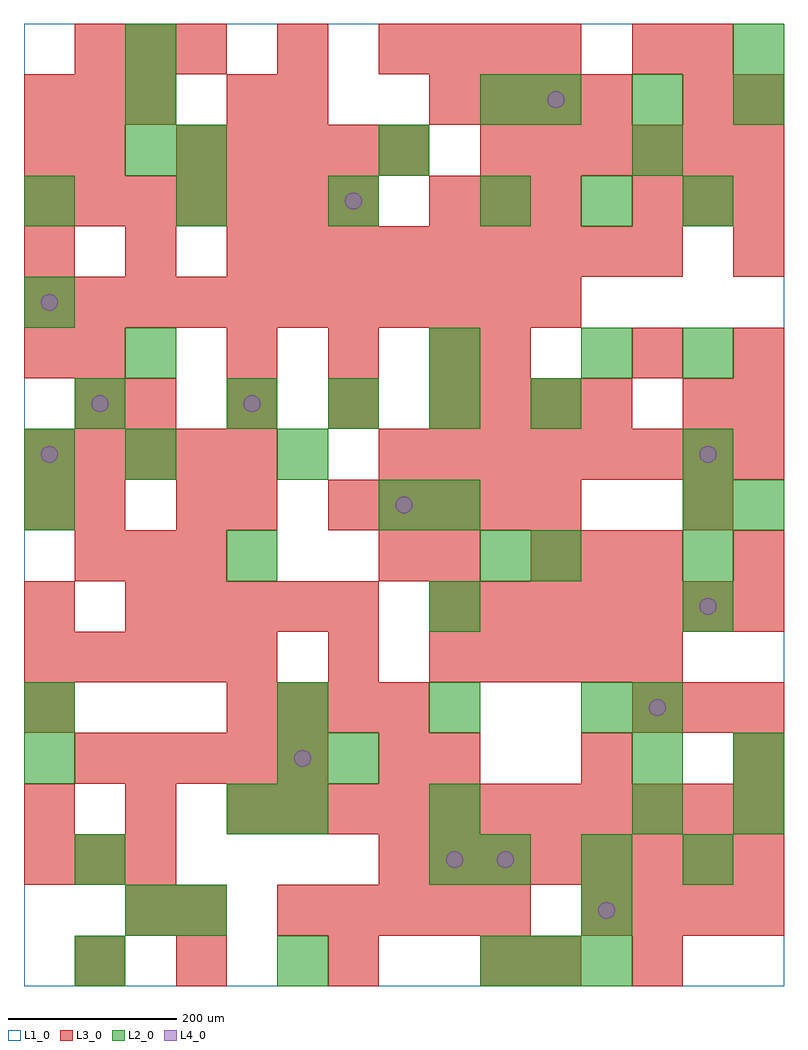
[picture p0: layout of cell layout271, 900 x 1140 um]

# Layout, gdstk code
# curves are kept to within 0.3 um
import gdstk
lib = gdstk.Library(unit=1e-6, precision=1e-09)
def R(c, l, rs):  # rectangles x0, y0, x1, y1
    for r in rs: c.add(gdstk.rectangle(r[:2], r[2:], *l))
def A(c, l, x, y, w, h, nx, ny, dx, dy):  # array of equal rectangles
    R(c, l, [(x+i*dx, y+j*dy, x+i*dx+w, y+j*dy+h) for i in range(nx) for j in range(ny)])
def P(c, l, *ps):  # polygons
    for p in ps: c.add(gdstk.Polygon(p, *l))
L1_0 = (1, 0)
L2_0 = (2, 0)
L3_0 = (3, 0)
L4_0 = (4, 0)

layout271 = lib.new_cell('layout271')
R(layout271, L1_0, [(0,0,900,1140)])
A(layout271, L2_0, 60, 0, 60, 60, 3, 1, 240, 0)
A(layout271, L2_0, 540, 120, 60, 60, 3, 1, 120, 0)
A(layout271, L2_0, 720, 180, 60, 60, 1, 3, 0, 60)
A(layout271, L2_0, 300, 300, 60, 60, 3, 1, 180, 0)
A(layout271, L2_0, 780, 420, 60, 60, 1, 4, 0, 60)
A(layout271, L2_0, 240, 660, 60, 60, 4, 1, 120, 0)
A(layout271, L2_0, 0, 900, 60, 60, 4, 1, 180, 0)
A(layout271, L2_0, 120, 960, 60, 60, 1, 3, 0, 60)
A(layout271, L2_0, 600, 1020, 60, 60, 3, 1, 120, 0)
R(layout271, L2_0, [(600,0,660,60), (660,0,720,60), (120,60,180,120), (180,60,240,120), (660,60,720,120), (60,120,120,180), (480,120,540,180), (240,180,300,240), (300,180,360,240), (480,180,540,240), (840,180,900,240), (0,240,60,300), (300,240,360,300), (360,240,420,300), (840,240,900,300), (0,300,60,360), (480,420,540,480), (240,480,300,540), (540,480,600,540), (600,480,660,540), (0,540,60,600), (420,540,480,600), (480,540,540,600), (840,540,900,600), (0,600,60,660), (120,600,180,660), (300,600,360,660), (60,660,120,720), (120,720,180,780), (480,720,540,780), (660,720,720,780), (780,720,840,780), (0,780,60,840), (660,900,720,960), (780,900,840,960), (180,960,240,1020), (420,960,480,1020), (720,960,780,1020), (540,1020,600,1080), (840,1080,900,1140)])
A(layout271, L3_0, 180, 0, 60, 60, 3, 1, 180, 0)
A(layout271, L3_0, 300, 60, 60, 60, 5, 1, 60, 0)
A(layout271, L3_0, 660, 60, 60, 60, 4, 1, 60, 0)
A(layout271, L3_0, 0, 120, 60, 60, 3, 2, 60, 900)
A(layout271, L3_0, 420, 120, 60, 60, 8, 2, 60, 480)
A(layout271, L3_0, 0, 180, 60, 60, 3, 2, 120, 660)
A(layout271, L3_0, 300, 180, 60, 60, 10, 1, 60, 0)
A(layout271, L3_0, 60, 240, 60, 60, 5, 1, 60, 0)
A(layout271, L3_0, 480, 240, 60, 60, 3, 1, 180, 0)
A(layout271, L3_0, 0, 300, 60, 60, 1, 3, 0, 120)
A(layout271, L3_0, 240, 300, 60, 60, 4, 1, 60, 0)
A(layout271, L3_0, 720, 300, 60, 60, 3, 2, 60, 600)
A(layout271, L3_0, 0, 360, 60, 60, 5, 2, 60, 240)
A(layout271, L3_0, 480, 360, 60, 60, 5, 1, 60, 0)
A(layout271, L3_0, 120, 420, 60, 60, 5, 1, 60, 0)
A(layout271, L3_0, 480, 420, 60, 60, 7, 1, 60, 0)
A(layout271, L3_0, 60, 480, 60, 60, 3, 2, 60, 600)
A(layout271, L3_0, 600, 480, 60, 60, 3, 1, 60, 0)
A(layout271, L3_0, 360, 540, 60, 60, 5, 1, 60, 0)
A(layout271, L3_0, 120, 660, 60, 60, 4, 1, 120, 0)
A(layout271, L3_0, 540, 660, 60, 60, 3, 1, 60, 0)
A(layout271, L3_0, 240, 720, 60, 60, 3, 1, 120, 0)
A(layout271, L3_0, 0, 780, 60, 60, 11, 1, 60, 0)
A(layout271, L3_0, 300, 840, 60, 60, 8, 1, 60, 0)
A(layout271, L3_0, 0, 900, 60, 60, 7, 1, 60, 0)
A(layout271, L3_0, 480, 900, 60, 60, 3, 1, 60, 0)
A(layout271, L3_0, 180, 960, 60, 60, 5, 1, 60, 0)
A(layout271, L3_0, 540, 960, 60, 60, 6, 1, 60, 0)
A(layout271, L3_0, 480, 1020, 60, 60, 4, 1, 60, 0)
A(layout271, L3_0, 420, 1080, 60, 60, 4, 1, 60, 0)
R(layout271, L3_0, [(60,0,120,60), (600,0,660,60), (720,0,780,60), (120,60,180,120), (180,60,240,120), (420,240,480,300), (360,360,420,420), (420,480,480,540), (480,480,540,540), (840,480,900,540), (60,540,120,600), (180,540,240,600), (240,540,300,600), (780,540,840,600), (60,660,120,720), (780,660,840,720), (840,660,900,720), (0,720,60,780), (60,720,120,780), (540,720,600,780), (720,720,780,780), (840,720,900,780), (840,840,900,900), (0,960,60,1020), (60,960,120,1020), (240,1020,300,1080), (300,1020,360,1080), (780,1020,840,1080), (840,1020,900,1080), (300,1080,360,1140), (720,1080,780,1140), (780,1080,840,1140)])
P(layout271, L4_0, [(40,630),(39.239,633.827),(37.071,637.071),(33.827,639.239),(30,640),(26.173,639.239),(22.929,637.071),(20.761,633.827),(20,630),(20.761,626.173),(22.929,622.929),(26.173,620.761),(30,620),(33.827,620.761),(37.071,622.929),(39.239,626.173)],
  [(40,810),(39.239,813.827),(37.071,817.071),(33.827,819.239),(30,820),(26.173,819.239),(22.929,817.071),(20.761,813.827),(20,810),(20.761,806.173),(22.929,802.929),(26.173,800.761),(30,800),(33.827,800.761),(37.071,802.929),(39.239,806.173)],
  [(100,690),(99.239,693.827),(97.071,697.071),(93.827,699.239),(90,700),(86.173,699.239),(82.929,697.071),(80.761,693.827),(80,690),(80.761,686.173),(82.929,682.929),(86.173,680.761),(90,680),(93.827,680.761),(97.071,682.929),(99.239,686.173)],
  [(280,690),(279.239,693.827),(277.071,697.071),(273.827,699.239),(270,700),(266.173,699.239),(262.929,697.071),(260.761,693.827),(260,690),(260.761,686.173),(262.929,682.929),(266.173,680.761),(270,680),(273.827,680.761),(277.071,682.929),(279.239,686.173)],
  [(340,270),(339.239,273.827),(337.071,277.071),(333.827,279.239),(330,280),(326.173,279.239),(322.929,277.071),(320.761,273.827),(320,270),(320.761,266.173),(322.929,262.929),(326.173,260.761),(330,260),(333.827,260.761),(337.071,262.929),(339.239,266.173)],
  [(400,930),(399.239,933.827),(397.071,937.071),(393.827,939.239),(390,940),(386.173,939.239),(382.929,937.071),(380.761,933.827),(380,930),(380.761,926.173),(382.929,922.929),(386.173,920.761),(390,920),(393.827,920.761),(397.071,922.929),(399.239,926.173)],
  [(460,570),(459.239,573.827),(457.071,577.071),(453.827,579.239),(450,580),(446.173,579.239),(442.929,577.071),(440.761,573.827),(440,570),(440.761,566.173),(442.929,562.929),(446.173,560.761),(450,560),(453.827,560.761),(457.071,562.929),(459.239,566.173)],
  [(520,150),(519.239,153.827),(517.071,157.071),(513.827,159.239),(510,160),(506.173,159.239),(502.929,157.071),(500.761,153.827),(500,150),(500.761,146.173),(502.929,142.929),(506.173,140.761),(510,140),(513.827,140.761),(517.071,142.929),(519.239,146.173)],
  [(580,150),(579.239,153.827),(577.071,157.071),(573.827,159.239),(570,160),(566.173,159.239),(562.929,157.071),(560.761,153.827),(560,150),(560.761,146.173),(562.929,142.929),(566.173,140.761),(570,140),(573.827,140.761),(577.071,142.929),(579.239,146.173)],
  [(640,1050),(639.239,1053.827),(637.071,1057.071),(633.827,1059.239),(630,1060),(626.173,1059.239),(622.929,1057.071),(620.761,1053.827),(620,1050),(620.761,1046.173),(622.929,1042.929),(626.173,1040.761),(630,1040),(633.827,1040.761),(637.071,1042.929),(639.239,1046.173)],
  [(700,90),(699.239,93.827),(697.071,97.071),(693.827,99.239),(690,100),(686.173,99.239),(682.929,97.071),(680.761,93.827),(680,90),(680.761,86.173),(682.929,82.929),(686.173,80.761),(690,80),(693.827,80.761),(697.071,82.929),(699.239,86.173)],
  [(760,330),(759.239,333.827),(757.071,337.071),(753.827,339.239),(750,340),(746.173,339.239),(742.929,337.071),(740.761,333.827),(740,330),(740.761,326.173),(742.929,322.929),(746.173,320.761),(750,320),(753.827,320.761),(757.071,322.929),(759.239,326.173)],
  [(820,450),(819.239,453.827),(817.071,457.071),(813.827,459.239),(810,460),(806.173,459.239),(802.929,457.071),(800.761,453.827),(800,450),(800.761,446.173),(802.929,442.929),(806.173,440.761),(810,440),(813.827,440.761),(817.071,442.929),(819.239,446.173)],
  [(820,630),(819.239,633.827),(817.071,637.071),(813.827,639.239),(810,640),(806.173,639.239),(802.929,637.071),(800.761,633.827),(800,630),(800.761,626.173),(802.929,622.929),(806.173,620.761),(810,620),(813.827,620.761),(817.071,622.929),(819.239,626.173)])

lib.write_gds('layout271.gds')
